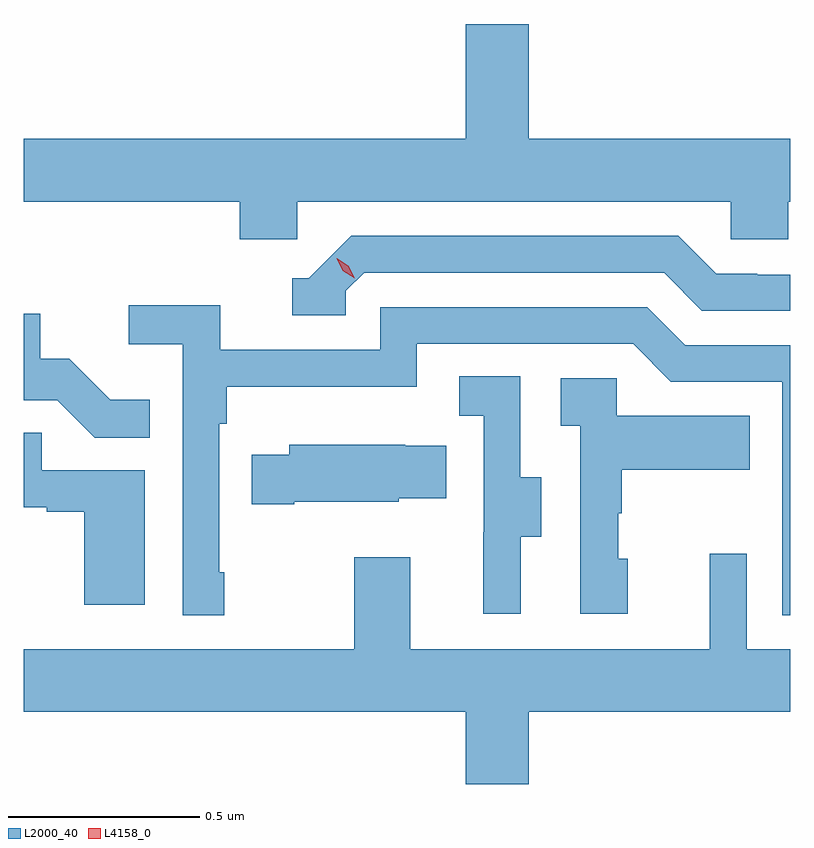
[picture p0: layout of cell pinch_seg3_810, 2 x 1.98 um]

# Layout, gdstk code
import gdstk
lib = gdstk.Library(unit=1e-6, precision=1e-09)
def P(c, l, *ps):  # polygons
    for p in ps: c.add(gdstk.Polygon(p, *l))
L2000_40 = (2000, 40)
L4158_0 = (4158, 0)

pinch_seg3_810 = lib.new_cell('pinch_seg3_810')
P(pinch_seg3_810, L2000_40, [(835.896,711.572),(837.027,711.572),(837.027,711.474),(837.177,711.474),(837.177,711.572),(837.182,711.572),(837.182,711.736),(836.5,711.736),(836.5,712.036),(836.336,712.036),(836.336,711.736),(835.182,711.736),(835.182,711.572),(835.745,711.572),(835.745,711.474),(835.896,711.474)],
  [(836.022,711.339),(836.07,711.387),(836.853,711.387),(836.952,711.288),(837.182,711.288),(837.182,711.381),(837.096,711.381),(837.096,711.384),(836.989,711.384),(836.89,711.483),(836.037,711.483),(835.926,711.372),(835.883,711.372),(835.883,711.276),(836.022,711.276)],
  [(835.705,710.605),(835.692,710.605),(835.692,710.993),(835.712,710.993),(835.712,711.089),(836.208,711.089),(836.208,711.201),(836.772,711.201),(836.871,711.102),(837.162,711.102),(837.162,710.493),(837.182,710.493),(837.182,711.198),(836.908,711.198),(836.809,711.297),(836.112,711.297),(836.112,711.186),(835.694,711.186),(835.694,711.302),(835.455,711.302),(835.455,711.2),(835.596,711.2),(835.596,710.493),(835.705,710.493)],
  [(835.511,711.055),(835.407,711.055),(835.3,711.162),(835.224,711.162),(835.224,711.279),(835.182,711.279),(835.182,711.054),(835.269,711.054),(835.367,710.956),(835.511,710.956)],
  [(836.479,710.698),(836.533,710.698),(836.533,710.853),(836.478,710.853),(836.478,711.116),(836.319,711.116),(836.319,711.013),(836.382,711.013),(836.382,710.709),(836.381,710.709),(836.381,710.496),(836.479,710.496)],
  [(836.758,710.64),(836.733,710.64),(836.733,710.759),(836.743,710.759),(836.743,710.873),(837.077,710.873),(837.077,711.013),(836.73,711.013),(836.73,711.111),(836.583,711.111),(836.583,710.987),(836.634,710.987),(836.634,710.496),(836.758,710.496)],
  [(835.498,710.871),(835.229,710.871),(835.229,710.969),(835.182,710.969),(835.182,710.775),(835.241,710.775),(835.241,710.763),(835.34,710.763),(835.34,710.52),(835.498,710.52)],
  [(835.888,710.789),(836.16,710.789),(836.16,710.798),(836.285,710.798),(836.285,710.935),(836.177,710.935),(836.177,710.938),(835.875,710.938),(835.875,710.911),(835.777,710.911),(835.777,710.782),(835.888,710.782)],
  [(836.5,710.24),(837.182,710.24),(837.182,710.404),(837.069,710.404),(837.069,710.653),(836.972,710.653),(836.972,710.404),(836.191,710.404),(836.191,710.644),(836.044,710.644),(836.044,710.404),(835.182,710.404),(835.182,710.24),(836.336,710.24),(836.336,710.052),(836.5,710.052)])
P(pinch_seg3_810, L4158_0, [(836.045,711.372),(836.014,711.392),(835.998,711.424),(835.998,711.425),(835.999,711.425),(836.029,711.405),(836.045,711.372),(836.045,711.372)])

lib.write_gds('pinch_seg3_810.gds')
